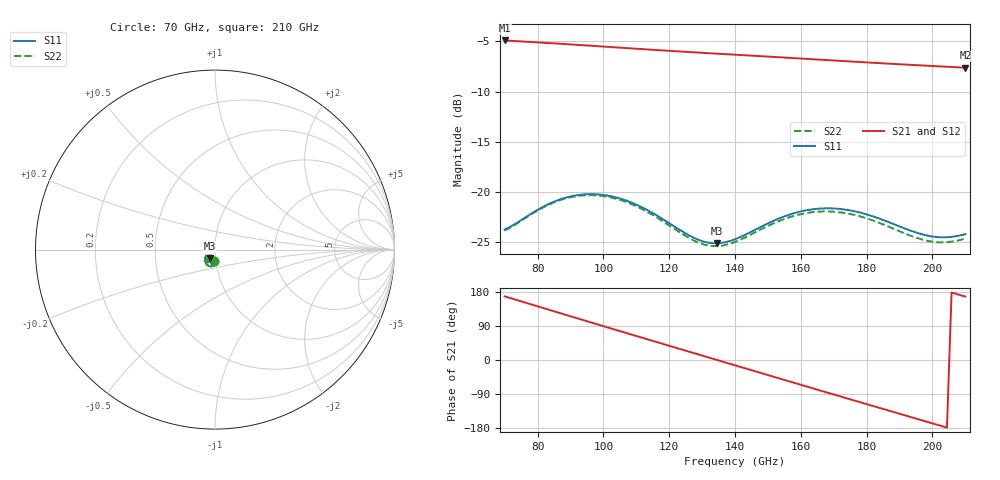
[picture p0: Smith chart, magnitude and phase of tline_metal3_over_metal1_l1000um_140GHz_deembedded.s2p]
! Created with skrf 2.2.0 (http://scikit-rf.org).
# GHz S DB R 50.0
! Port[1] = P1
! Port[2] = P2
!freq dBS11 angS11 dBS21 angS21 dBS12 angS12 dBS22 angS22
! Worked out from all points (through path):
!   101 points, 70 GHz to 210 GHz, reference 50 ohm
!   highest |S21| = -4.90 dB at 70 GHz (marker M1); lowest = -7.6 dB at 210 GHz (marker M2)
!   group delay of S21, straight-line fit = 7.15 ps
!   lowest |S11| = -25.1 dB at 134.4 GHz (marker M3), VSWR 1.12, Z = 46.9 - j4.43 ohm
!   |S11| at or under -10 dB: start of sweep to end of sweep
!   |S22| runs from -25.4 to -20.3 dB; largest |S21 - S12| = 9.1e-14
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70  -23.72 -94.6  -4.90 168.0  -4.90 168.0  -23.81 -93.9
75.6  -22.66 -90.4  -5.01 153.3  -5.01 153.3  -22.72 -89.8
82.6  -21.30 -93.2  -5.15 134.9  -5.15 134.9  -21.36 -92.9
88.2  -20.58 -99.1  -5.26 120.2  -5.26 120.2  -20.65 -99.0
93.8  -20.23 -106.4  -5.38 105.5  -5.38 105.5  -20.32 -106.5
99.4  -20.25 -114.2  -5.50 90.9  -5.50 90.9  -20.36 -114.4
105  -20.62 -121.6  -5.62 76.3  -5.62 76.3  -20.76 -121.9
110.6  -21.32 -127.9  -5.74 61.8  -5.74 61.8  -21.49 -128.3
117.6  -22.58 -132.8  -5.89 43.7  -5.89 43.7  -22.79 -133.2
126  -24.28 -131.5  -6.05 22.0  -6.05 22.0  -24.55 -131.9
134.4  -25.08 -122.3  -6.21 0.4  -6.21 0.4  -25.37 -122.4
140  -24.68 -116.1  -6.32 -14.0  -6.32 -14.0  -24.95 -116.1
145.6  -23.82 -113.3  -6.43 -28.4  -6.43 -28.4  -24.08 -113.3
152.6  -22.72 -114.6  -6.56 -46.4  -6.56 -46.4  -22.97 -114.9
158.2  -22.06 -118.4  -6.67 -60.8  -6.67 -60.8  -22.33 -118.8
163.8  -21.69 -123.3  -6.78 -75.1  -6.78 -75.1  -21.98 -123.9
169.4  -21.61 -128.6  -6.88 -89.4  -6.88 -89.4  -21.93 -129.3
175  -21.81 -133.7  -6.99 -103.7  -6.99 -103.7  -22.17 -134.4
180.6  -22.26 -137.7  -7.10 -118.0  -7.10 -118.0  -22.66 -138.5
187.6  -23.09 -140.4  -7.23 -135.8  -7.23 -135.8  -23.55 -141.1
198.8  -24.34 -137.0  -7.42 -164.2  -7.42 -164.2  -24.86 -136.9
210  -24.17 -128.5  -7.61 167.3  -7.61 167.3  -24.61 -127.9
